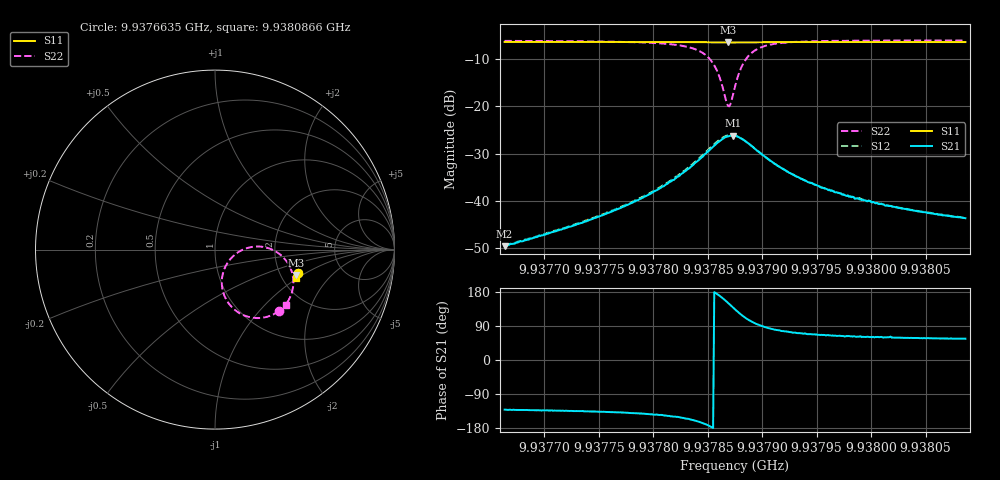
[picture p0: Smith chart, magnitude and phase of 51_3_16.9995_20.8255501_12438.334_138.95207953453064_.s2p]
#  HZ  S  RI  R  50.00
! Rohde & Schwarz Vector Network Analyzer
! Rohde-Schwarz,ZNB20-2Port,1311601062101988,3.16
! Created: UTC 3/20/2024, 10:54:19 PM
! freq[Hz]  re:S11  im:S11  re:S21  im:S21  re:S12  im:S12  re:S22  im:S22
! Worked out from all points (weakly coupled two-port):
!   401 points, 9.9376635 GHz to 9.9380866 GHz, reference 50 ohm
!   highest |S21| = -26.22 dB at 9.9378729 GHz (marker M1); lowest = -49.6 dB at 9.9376635 GHz (marker M2)
!   lowest |S11| = -6.5 dB at 9.9378687 GHz (marker M3), VSWR 2.81, Z = 122 - j44.3 ohm
!   |S11| at or under -10 dB: nowhere
!   |S22| runs from -20.0 to -6.0 dB; largest |S21 - S12| = 0.0033
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9.93766346e9  0.464 -0.1299  -0.00216 -0.00249  -0.00226 -0.00246  0.3573 -0.3413
9.93773435e9  0.4619 -0.1348  -0.00409 -0.00412  -0.0043 -0.00415  0.3359 -0.3553
9.93777137e9  0.4609 -0.1375  -0.0064 -0.00563  -0.00663 -0.00566  0.3136 -0.3662
9.93780523e9  0.4597 -0.1401  -0.0109 -0.00762  -0.0113 -0.00777  0.2722 -0.3784
9.93783273e9  0.4579 -0.1423  -0.0199 -0.00911  -0.0209 -0.00877  0.193 -0.3764
9.9378486e9  0.4562 -0.1432  -0.0314 -0.00549  -0.0327 -0.00466  0.1031 -0.3298
9.93785389e9  0.4554 -0.143  -0.0364 -0.0015  -0.0378 -0.000336  0.0685 -0.2885
9.93785812e9  0.4547 -0.143  -0.0401 0.00345  -0.0415 0.00543  0.0464 -0.2399
9.93786341e9  0.454 -0.1423  -0.0432 0.0125  -0.0439 0.0153  0.0389 -0.1588
9.93786659e9  0.4537 -0.1417  -0.0433 0.0191  -0.0433 0.0222  0.0532 -0.1051
9.9378687e9  0.4536 -0.141  -0.0419 0.0236  -0.0417 0.0268  0.0718 -0.071
9.93787082e9  0.4538 -0.1408  -0.0399 0.0281  -0.039 0.031  0.0969 -0.0404
9.93787293e9  0.4542 -0.1404  -0.0371 0.0318  -0.0357 0.0348  0.1277 -0.0152
9.93787505e9  0.4542 -0.14  -0.0334 0.0351  -0.0319 0.0377  0.1621 0.00267
9.93787928e9  0.455 -0.1398  -0.0254 0.0391  -0.0232 0.0408  0.2333 0.017
9.93788351e9  0.4558 -0.1396  -0.0175 0.04  -0.0153 0.0409  0.2965 0.00835
9.93789409e9  0.4573 -0.1408  -0.00352 0.0348  -0.00223 0.0348  0.3921 -0.0567
9.93791631e9  0.4582 -0.1433  0.00466 0.0222  0.00554 0.0221  0.4361 -0.1687
9.93794593e9  0.4576 -0.1461  0.00576 0.0142  0.00609 0.014  0.4296 -0.2347
9.93797555e9  0.4568 -0.1485  0.00536 0.0101  0.00551 0.0102  0.4188 -0.265
9.93801681e9  0.4559 -0.1515  0.00437 0.00761  0.00463 0.00752  0.4072 -0.2872
9.93808664e9  0.4539 -0.1561  0.00363 0.00542  0.00377 0.00537  0.3941 -0.3062
